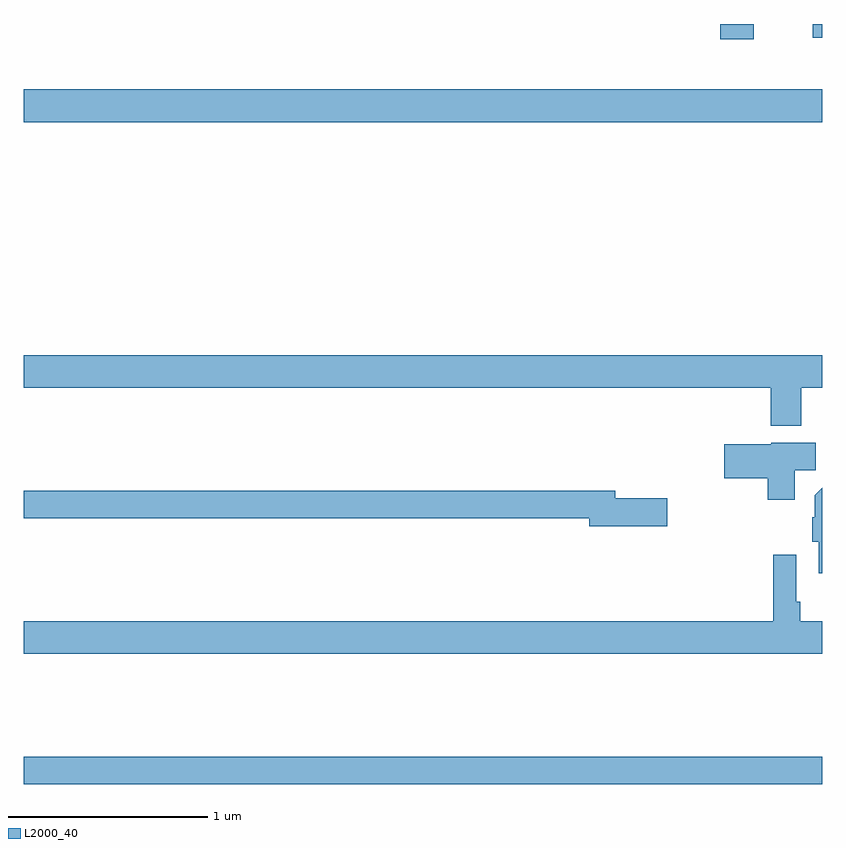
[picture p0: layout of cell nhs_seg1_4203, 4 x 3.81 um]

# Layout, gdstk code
import gdstk
lib = gdstk.Library(unit=1e-6, precision=1e-09)
def R(c, l, rs):  # rectangles x0, y0, x1, y1
    for r in rs: c.add(gdstk.rectangle(r[:2], r[2:], *l))
def P(c, l, *ps):  # polygons
    for p in ps: c.add(gdstk.Polygon(p, *l))
L2000_40 = (2000, 40)

nhs_seg1_4203 = lib.new_cell('nhs_seg1_4203')
R(nhs_seg1_4203, L2000_40, [(339,572.392,343,572.528), (339,575.708,343,575.872), (342.488,576.123,342.658,576.199), (342.952,576.129,343,576.199)])
P(nhs_seg1_4203, L2000_40, [(342.895,574.376),(343,574.376),(343,574.54),(339,574.54),(339,574.376),(342.743,574.376),(342.743,574.187),(342.895,574.187)],
  [(342.862,573.964),(342.967,573.964),(342.967,574.102),(342.744,574.102),(342.744,574.093),(342.51,574.093),(342.51,573.923),(342.728,573.923),(342.728,573.816),(342.862,573.816)],
  [(343,573.876),(342.962,573.838),(342.962,573.728),(342.95,573.728),(342.95,573.606),(342.983,573.606),(342.983,573.447),(343,573.447)],
  [(342.223,573.824),(341.962,573.824),(341.962,573.86),(339,573.86),(339,573.724),(341.834,573.724),(341.834,573.682),(342.223,573.682)],
  [(343,573.208),(342.89,573.208),(342.89,573.304),(342.87,573.304),(342.87,573.541),(342.754,573.541),(342.754,573.208),(339,573.208),(339,573.044),(343,573.044)])

lib.write_gds('nhs_seg1_4203.gds')
